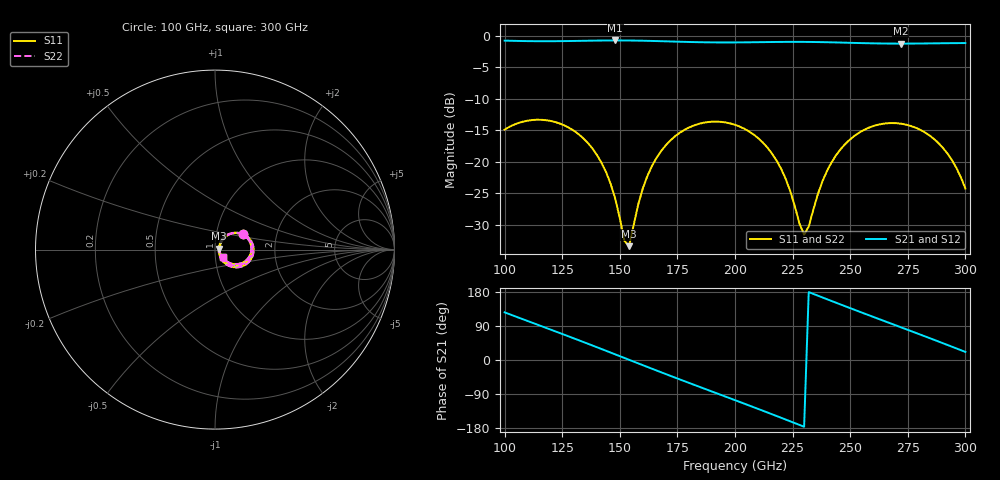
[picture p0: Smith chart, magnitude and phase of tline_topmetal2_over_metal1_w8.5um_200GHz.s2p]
#  GHZ S DB R 50
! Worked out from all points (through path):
!   101 points, 100 GHz to 300 GHz, reference 50 ohm
!   highest |S21| = -0.77 dB at 148 GHz (marker M1); lowest = -1.3 dB at 272 GHz (marker M2)
!   group delay of S21, straight-line fit = 6.46 ps
!   lowest |S11| = -33.4 dB at 154 GHz (marker M3), VSWR 1.04, Z = 52.1 + j0.546 ohm
!   |S11| at or under -10 dB: start of sweep to end of sweep
!   |S22| runs from -33.6 to -13.3 dB; largest |S21 - S12| = 1e-13
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100  -14.90 29.1  -0.80 125.7  -0.80 125.7  -14.89 28.8
118  -13.41 -7.7  -0.89 84.7  -0.89 84.7  -13.40 -8.0
134  -16.22 -39.8  -0.82 47.9  -0.82 47.9  -16.21 -40.2
142  -20.10 -53.2  -0.78 29.1  -0.78 29.1  -20.10 -53.7
148  -25.84 -55.0  -0.77 14.9  -0.77 14.9  -25.85 -55.8
152  -32.53 -27.3  -0.77 5.4  -0.77 5.4  -32.69 -28.5
154  -33.38 14.1  -0.78 0.6  -0.78 0.6  -33.63 14.0
160  -24.20 54.7  -0.81 -13.7  -0.81 -13.7  -24.25 55.0
168  -18.27 46.7  -0.89 -32.5  -0.89 -32.5  -18.28 46.8
184  -14.02 16.2  -1.04 -69.5  -1.04 -69.5  -14.02 16.1
200  -14.14 -15.7  -1.08 -106.0  -1.08 -106.0  -14.14 -15.9
218  -19.77 -46.9  -1.01 -147.7  -1.01 -147.7  -19.78 -47.4
224  -24.67 -48.1  -0.99 -161.9  -0.99 -161.9  -24.71 -48.9
230  -31.53 -1.7  -1.00 -176.1  -1.00 -176.1  -31.77 -2.1
234  -27.58 43.4  -1.01 174.4  -1.01 174.4  -27.69 44.0
240  -21.40 51.3  -1.05 160.2  -1.05 160.2  -21.43 51.7
248  -17.13 41.0  -1.12 141.5  -1.12 141.5  -17.14 41.2
258  -14.61 22.6  -1.21 118.4  -1.21 118.4  -14.62 22.7
268  -13.86 3.0  -1.26 95.5  -1.26 95.5  -13.86 3.1
272  -13.96 -4.9  -1.27 86.4  -1.27 86.4  -13.96 -4.8
288  -16.92 -34.9  -1.22 49.5  -1.22 49.5  -16.91 -34.7
300  -24.24 -44.9  -1.18 21.3  -1.18 21.3  -24.17 -44.1
